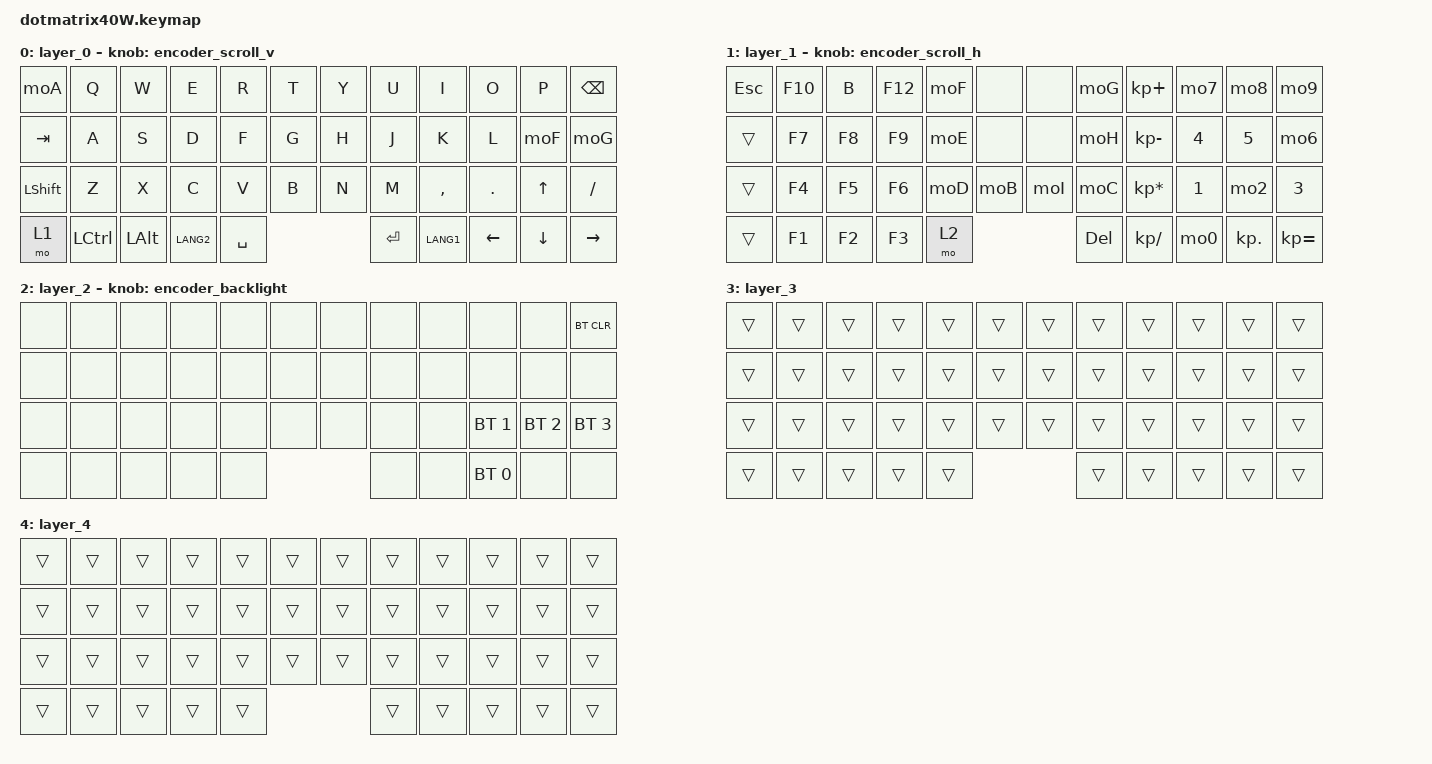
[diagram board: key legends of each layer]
/*
 * Copyright (c) 2021 Nick Winans
 *
 * SPDX-License-Identifier: MIT
 */

#include <behaviors.dtsi>
#include <dt-bindings/zmk/backlight.h>
#include <dt-bindings/zmk/bt.h>
#include <dt-bindings/zmk/keys.h>
#include <dt-bindings/zmk/pointing.h>

// JIS layout fixes for Japanese OS settings

#define JP_DQUOTE       AT                // "
#define JP_AMPERSAND    CARET             // &
#define JP_QUOTE        AMPERSAND         // '
#define JP_EQUAL        UNDER             // =
#define JP_CARET        EQUAL             // ^
#define JP_YEN          0x89              // ¥
#define JP_PLUS         COLON             // +
#define JP_TILDE        PLUS              // ~
#define JP_PIPE         LS(0x89)          // |
#define JP_AT           LEFT_BRACKET      // @
#define JP_COLON        SINGLE_QUOTE      // :
#define JP_ASTERISK     DOUBLE_QUOTES     // *
#define JP_BACKQUOTE    LEFT_BRACE        // `
#define JP_UNDERSCORE   LS(0x87)          // _
#define JP_LBRACKET     RIGHT_BRACKET     // [
#define JP_RBRACKET     BACKSLASH         // ]
#define JP_LPAREN       ASTERISK          // (
#define JP_RPAREN       LEFT_PARENTHESIS  // )
#define JP_LBRACE       RIGHT_BRACE       // {
#define JP_RBRACE       PIPE              // }
#define JP_KANA         LANGUAGE_1        // Kana
#define JP_EISU         LANGUAGE_2        // Eisu
#define JP_HANZEN       GRAVE             // Han/Zen
#define JP_BSLH         INT1              // Backslash

// Custom scroll values to ensure a single encoder click produces enough velocity

#define SCRL_UP_FAST   MOVE_Y(35)
#define SCRL_DOWN_FAST MOVE_Y(-35)
#define SCRL_LEFT_FAST MOVE_X(-35)
#define SCRL_RIGHT_FAST MOVE_X(35)

/ {
    behaviors {
        encoder_scroll_v: encoder_scroll_v {
            compatible = "zmk,behavior-sensor-rotate";
            #sensor-binding-cells = <0>;
            bindings = <&msc SCRL_DOWN_FAST>, <&msc SCRL_UP_FAST>;

            tap-ms = <50>;
        };

        encoder_scroll_h: encoder_scroll_h {
            compatible = "zmk,behavior-sensor-rotate";
            #sensor-binding-cells = <0>;
            bindings = <&msc SCRL_RIGHT_FAST>, <&msc SCRL_LEFT_FAST>;

            tap-ms = <50>;
        };

        encoder_backlight: encoder_backlight {
            compatible = "zmk,behavior-sensor-rotate";
            #sensor-binding-cells = <0>;
            bindings = <&bl BL_INC>, <&bl BL_DEC>;
        };

        encoder_arrow_v: encoder_arrow_v {
            compatible = "zmk,behavior-sensor-rotate";
            #sensor-binding-cells = <0>;
            bindings = <&kp DOWN>, <&kp UP>;
        };

        encoder_arrow_h: encoder_arrow_h {
            compatible = "zmk,behavior-sensor-rotate";
            #sensor-binding-cells = <0>;
            bindings = <&kp RIGHT>, <&kp LEFT>;
        };

        encoder_volume: encoder_volume {
            compatible = "zmk,behavior-sensor-rotate";
            #sensor-binding-cells = <0>;
            bindings = <&kp C_VOL_UP>, <&kp C_VOL_DN>;
        };

        encoder_undo_win: encoder_undo_win {
            compatible = "zmk,behavior-sensor-rotate";
            #sensor-binding-cells = <0>;
            bindings = <&kp LC(Y)>, <&kp LC(Z)>;
        };

        encoder_undo_mac: encoder_undo_mac {
            compatible = "zmk,behavior-sensor-rotate";
            #sensor-binding-cells = <0>;
            bindings = <&kp LG(LS(Z))>, <&kp LG(Z)>;
        };

        mo2: mo2 {
            compatible = "zmk,behavior-mod-morph";
            #binding-cells = <0>;
            bindings = <&kp N2>, <&kp JP_DQUOTE>;

            mods = <(MOD_LSFT|MOD_RSFT)>;
        };

        mo6: mo6 {
            compatible = "zmk,behavior-mod-morph";
            #binding-cells = <0>;
            bindings = <&kp N6>, <&kp JP_AMPERSAND>;

            mods = <(MOD_LSFT|MOD_RSFT)>;
        };

        mo7: mo7 {
            compatible = "zmk,behavior-mod-morph";
            #binding-cells = <0>;
            bindings = <&kp N7>, <&kp JP_QUOTE>;

            mods = <(MOD_LSFT|MOD_RSFT)>;
        };

        mo8: mo8 {
            compatible = "zmk,behavior-mod-morph";
            #binding-cells = <0>;
            bindings = <&kp N8>, <&kp JP_LPAREN>;

            mods = <(MOD_LSFT|MOD_RSFT)>;
        };

        mo9: mo9 {
            compatible = "zmk,behavior-mod-morph";
            #binding-cells = <0>;
            bindings = <&kp N9>, <&kp JP_RPAREN>;

            mods = <(MOD_LSFT|MOD_RSFT)>;
        };

        mo0: mo0 {
            compatible = "zmk,behavior-mod-morph";
            #binding-cells = <0>;
            bindings = <&kp N0>, <&none>;

            mods = <(MOD_LSFT|MOD_RSFT)>;
        };

        moA: moA {
            compatible = "zmk,behavior-mod-morph";
            #binding-cells = <0>;
            bindings = <&kp MINUS>, <&kp JP_EQUAL>;

            mods = <(MOD_LSFT|MOD_RSFT)>;
        };

        moB: moB {
            compatible = "zmk,behavior-mod-morph";
            #binding-cells = <0>;
            bindings = <&kp JP_CARET>, <&kp JP_TILDE>;

            mods = <(MOD_LSFT|MOD_RSFT)>;
        };

        moC: moC {
            compatible = "zmk,behavior-mod-morph";
            #binding-cells = <0>;
            bindings = <&kp INT3>, <&kp JP_PIPE>;

            mods = <(MOD_LSFT|MOD_RSFT)>;
        };

        moD: moD {
            compatible = "zmk,behavior-mod-morph";
            #binding-cells = <0>;
            bindings = <&kp JP_AT>, <&kp JP_BACKQUOTE>;

            mods = <(MOD_LSFT|MOD_RSFT)>;
        };

        moE: moE {
            compatible = "zmk,behavior-mod-morph";
            #binding-cells = <0>;
            bindings = <&kp JP_LBRACKET>, <&kp JP_LBRACE>;

            mods = <(MOD_LSFT|MOD_RSFT)>;
        };

        moF: moF {
            compatible = "zmk,behavior-mod-morph";
            #binding-cells = <0>;
            bindings = <&kp SEMI>, <&kp KP_PLUS>;

            mods = <(MOD_LSFT|MOD_RSFT)>;
        };

        moG: moG {
            compatible = "zmk,behavior-mod-morph";
            #binding-cells = <0>;
            bindings = <&kp JP_COLON>, <&kp JP_ASTERISK>;

            mods = <(MOD_LSFT|MOD_RSFT)>;
        };

        moH: moH {
            compatible = "zmk,behavior-mod-morph";
            #binding-cells = <0>;
            bindings = <&kp JP_RBRACKET>, <&kp TILDE2>;

            mods = <(MOD_LSFT|MOD_RSFT)>;
        };

        moI: moI {
            compatible = "zmk,behavior-mod-morph";
            #binding-cells = <0>;
            bindings = <&kp JP_BSLH>, <&kp JP_UNDERSCORE>;

            mods = <(MOD_LSFT|MOD_RSFT)>;
        };
    };

    keymap {
        compatible = "zmk,keymap";

        layer_0 {
            // -------------------------------------------------------------------------------------------------
            // | - / = |   Q   |   W   |   E   |   R   |   T   |   Y   |   U   |   I   |   O   |   P   | BSPC  |
            // |  TAB  |   A   |   S   |   D   |   F   |   G   |   H   |   J   |   K   |   L   | ; / + | : / * |
            // | SHIFT |   Z   |   X   |   C   |   V   |   B   |   N   |   M   | , / < | . / > |  UP   | / / ? |
            // |  L1   | CTRL  |  ALT  | EISU  |     SPACE     |     ENTER     | KANA  | LEFT  | DOWN  | RIGHT |
            // -------------------------------------------------------------------------------------------------

            bindings = <
&moA        &kp Q      &kp W     &kp E      &kp R      &kp T  &kp Y  &kp U    &kp I      &kp O     &kp P     &kp BSPC
&kp TAB     &kp A      &kp S     &kp D      &kp F      &kp G  &kp H  &kp J    &kp K      &kp L     &moF      &moG
&kp LSHIFT  &kp Z      &kp X     &kp C      &kp V      &kp B  &kp N  &kp M    &kp COMMA  &kp DOT   &kp UP    &kp FSLH
&mo 1       &kp LCTRL  &kp LALT  &kp LANG2  &kp SPACE                &kp RET  &kp LANG1  &kp LEFT  &kp DOWN  &kp RIGHT
            >;

            sensor-bindings = <&encoder_scroll_v>;
        };

        layer_1 {
            // -------------------------------------------------------------------------------------------------
            // |  ESC  |  F10  |  F11  |  F12  | ; / + |       |       | : / * |   +   | 7 / ' | 8 / ( | 9 / ) |
            // |       |  F7   |  F8   |  F9   | [ / { |       |       | ] / } |   -   | 4 / $ | 5 / % | 6 / & |
            // |       |  F4   |  F5   |  F6   | @ / ` | ^ / ~ | \ / _ | \ / | |   *   | 1 / ! | 2 / " | 3 / # |
            // |       |  F1   |  F2   |  F3   |      L2       |      DEL      |   /   |   0   |   .   |   =   |
            // -------------------------------------------------------------------------------------------------

            bindings = <
&kp ESC  &kp F10  &kp B   &kp F12  &moF   &none  &none  &moG     &kp KP_PLUS      &mo7    &mo8        &mo9
&trans   &kp F7   &kp F8  &kp F9   &moE   &none  &none  &moH     &kp KP_MINUS     &kp N4  &kp N5      &mo6
&trans   &kp F4   &kp F5  &kp F6   &moD   &moB   &moI   &moC     &kp KP_MULTIPLY  &kp N1  &mo2        &kp N3
&trans   &kp F1   &kp F2  &kp F3   &mo 2                &kp DEL  &kp KP_DIVIDE    &mo0    &kp KP_DOT  &kp KP_EQUAL
            >;

            sensor-bindings = <&encoder_scroll_h>;
        };

        layer_2 {
            // -------------------------------------------------------------------------------------------------
            // |       |       |       |       |       |       |       |       |       |       |       | BTCLR |
            // |       |       |       |       |       |       |       |       |       |       |       |       |
            // |       |       |       |       |       |       |       |       |       | BT 1  | BT 2  | BT 3  |
            // |       |       |       |       |               |               |       | BT 0  |       |       |
            // -------------------------------------------------------------------------------------------------

            bindings = <
&none  &none  &none  &none  &none  &none  &none  &none  &none  &none         &none         &bt BT_CLR
&none  &none  &none  &none  &none  &none  &none  &none  &none  &none         &none         &none
&none  &none  &none  &none  &none  &none  &none  &none  &none  &bt BT_SEL 1  &bt BT_SEL 2  &bt BT_SEL 3
&none  &none  &none  &none  &none                &none  &none  &bt BT_SEL 0  &none         &none
            >;

            sensor-bindings = <&encoder_backlight>;
        };

        layer_3 {
            bindings = <
&trans  &trans  &trans  &trans  &trans  &trans  &trans  &trans  &trans  &trans  &trans  &trans
&trans  &trans  &trans  &trans  &trans  &trans  &trans  &trans  &trans  &trans  &trans  &trans
&trans  &trans  &trans  &trans  &trans  &trans  &trans  &trans  &trans  &trans  &trans  &trans
&trans  &trans  &trans  &trans  &trans                  &trans  &trans  &trans  &trans  &trans
            >;
        };

        layer_4 {
            bindings = <
&trans  &trans  &trans  &trans  &trans  &trans  &trans  &trans  &trans  &trans  &trans  &trans
&trans  &trans  &trans  &trans  &trans  &trans  &trans  &trans  &trans  &trans  &trans  &trans
&trans  &trans  &trans  &trans  &trans  &trans  &trans  &trans  &trans  &trans  &trans  &trans
&trans  &trans  &trans  &trans  &trans                  &trans  &trans  &trans  &trans  &trans
            >;
        };
    };
};

// Override msc behavior to remove acceleration and delay for immediate encoder response

&msc {
    acceleration-exponent = <0>;
    time-to-max-speed-ms = <0>;
    delay-ms = <0>;
};

// Special thanks to the following repository for reference and inspiration:
// https://github.com/kureyakey/zmk-config-zonkey
